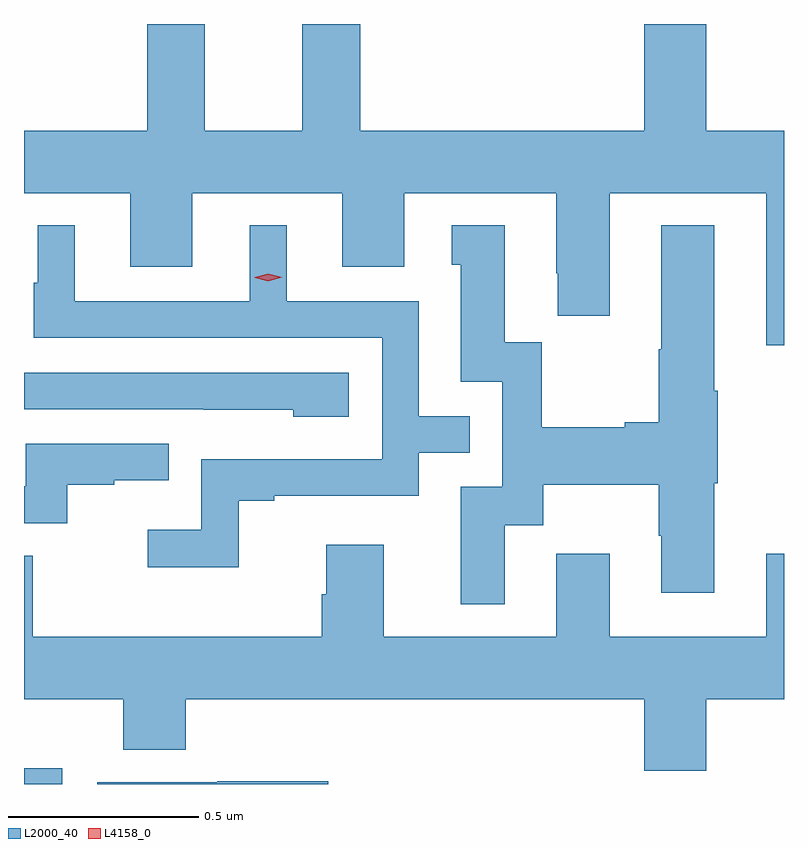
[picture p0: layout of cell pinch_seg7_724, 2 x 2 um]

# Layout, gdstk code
import gdstk
lib = gdstk.Library(unit=1e-6, precision=1e-09)
def R(c, l, rs):  # rectangles x0, y0, x1, y1
    for r in rs: c.add(gdstk.rectangle(r[:2], r[2:], *l))
def P(c, l, *ps):  # polygons
    for p in ps: c.add(gdstk.Polygon(p, *l))
L2000_40 = (2000, 40)
L4158_0 = (4158, 0)

pinch_seg7_724 = lib.new_cell('pinch_seg7_724')
R(pinch_seg7_724, L2000_40, [(331.208,1016.377,331.308,1016.419)])
P(pinch_seg7_724, L2000_40, [(333.208,1018.096),(333.004,1018.096),(333.004,1018.377),(332.84,1018.377),(332.84,1018.096),(332.093,1018.096),(332.093,1018.377),(331.94,1018.377),(331.94,1018.096),(331.684,1018.096),(331.684,1018.377),(331.532,1018.377),(331.532,1018.096),(331.208,1018.096),(331.208,1017.932),(331.487,1017.932),(331.487,1017.738),(331.651,1017.738),(331.651,1017.932),(332.045,1017.932),(332.045,1017.738),(332.209,1017.738),(332.209,1017.932),(332.609,1017.932),(332.609,1017.721),(332.612,1017.721),(332.612,1017.609),(332.749,1017.609),(332.749,1017.932),(333.161,1017.932),(333.161,1017.531),(333.208,1017.531)],
  [(331.773,1017.123),(331.867,1017.123),(331.867,1017.135),(332.247,1017.135),(332.247,1017.249),(332.381,1017.249),(332.381,1017.345),(332.247,1017.345),(332.247,1017.648),(331.9,1017.648),(331.9,1017.847),(331.802,1017.847),(331.802,1017.648),(331.342,1017.648),(331.342,1017.847),(331.244,1017.847),(331.244,1017.696),(331.233,1017.696),(331.233,1017.552),(332.151,1017.552),(332.151,1017.231),(331.674,1017.231),(331.674,1017.046),(331.533,1017.046),(331.533,1016.948),(331.773,1016.948)],
  [(332.473,1017.058),(332.575,1017.058),(332.575,1017.164),(332.878,1017.164),(332.878,1017.03),(332.885,1017.03),(332.885,1016.88),(333.025,1016.88),(333.025,1017.168),(333.033,1017.168),(333.033,1017.412),(333.025,1017.412),(333.025,1017.847),(332.885,1017.847),(332.885,1017.521),(332.878,1017.521),(332.878,1017.329),(332.789,1017.329),(332.789,1017.316),(332.571,1017.316),(332.571,1017.539),(332.473,1017.539),(332.473,1017.847),(332.333,1017.847),(332.333,1017.744),(332.357,1017.744),(332.357,1017.435),(332.466,1017.435),(332.466,1017.159),(332.357,1017.159),(332.357,1016.85),(332.473,1016.85)],
  [(332.062,1017.459),(331.208,1017.459),(331.208,1017.363),(331.681,1017.363),(331.681,1017.362),(331.917,1017.362),(331.917,1017.344),(332.062,1017.344)],
  [(331.322,1017.165),(331.445,1017.165),(331.445,1017.176),(331.589,1017.176),(331.589,1017.273),(331.212,1017.273),(331.212,1017.161),(331.208,1017.161),(331.208,1017.063),(331.322,1017.063)],
  [(332.609,1016.983),(332.609,1016.764),(332.155,1016.764),(332.155,1017.007),(332.003,1017.007),(332.003,1016.877),(331.991,1016.877),(331.991,1016.764),(331.231,1016.764),(331.231,1016.978),(331.208,1016.978),(331.208,1016.6),(331.469,1016.6),(331.469,1016.467),(331.634,1016.467),(331.634,1016.6),(332.84,1016.6),(332.84,1016.412),(333.004,1016.412),(333.004,1016.6),(333.208,1016.6),(333.208,1016.983),(333.161,1016.983),(333.161,1016.764),(332.749,1016.764),(332.749,1016.983)],
  [(332.009,1016.384),(331.717,1016.384),(331.717,1016.382),(331.401,1016.382),(331.401,1016.377),(332.009,1016.377)])
P(pinch_seg7_724, L4158_0, [(331.851,1017.7),(331.815,1017.709),(331.815,1017.709),(331.815,1017.71),(331.851,1017.72),(331.887,1017.711),(331.887,1017.711),(331.887,1017.711)])

lib.write_gds('pinch_seg7_724.gds')
